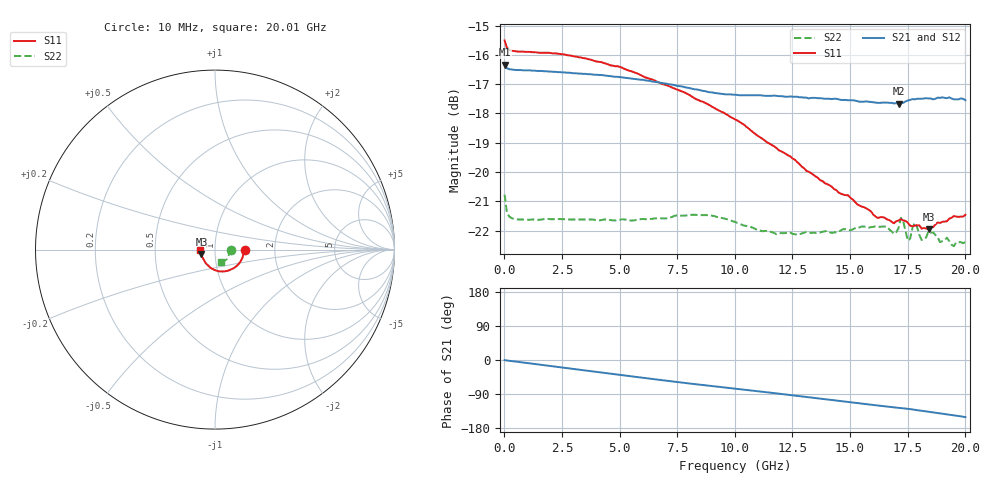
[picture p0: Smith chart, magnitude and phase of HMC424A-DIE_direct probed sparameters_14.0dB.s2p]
!s2p File: Measurements: S11, S21, S12, S22
# GHz S dB R 50.0
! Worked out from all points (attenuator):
!   201 points, 10 MHz to 20.01 GHz, reference 50 ohm
!   highest |S21| = -16.34 dB at 10 MHz (marker M1); lowest = -17.7 dB at 17.11 GHz (marker M2)
!   lowest |S11| = -21.9 dB at 18.41 GHz (marker M3), VSWR 1.17, Z = 42.9 - j2.2 ohm
!   |S11| at or under -10 dB: start of sweep to end of sweep
!   |S22| runs from -22.5 to -20.8 dB; largest |S21 - S12| = 0.0012
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0.01  -15.51 -0.7  -16.34 -0.3  -16.32 -0.4  -20.77 -1.7
0.11  -15.76 -1.8  -16.46 -1.4  -16.45 -1.4  -21.38 -2.7
0.41  -15.87 -3.5  -16.51 -3.5  -16.51 -3.5  -21.60 -2.9
3.41  -16.11 -25.8  -16.65 -26.8  -16.64 -26.8  -21.62 -16.1
6.71  -16.95 -51.7  -16.94 -52.2  -16.94 -52.2  -21.57 -30.6
8.91  -17.72 -69.9  -17.28 -68.1  -17.28 -68.1  -21.47 -41.5
10.01  -18.20 -79.6  -17.36 -75.5  -17.37 -75.4  -21.70 -46.8
11.81  -19.18 -95.9  -17.40 -88.1  -17.41 -88.0  -22.12 -51.7
13.41  -20.09 -110.5  -17.47 -99.7  -17.48 -99.7  -22.07 -55.1
16.21  -21.57 -138.5  -17.64 -120.0  -17.60 -119.9  -21.86 -62.7
16.71  -21.64 -143.9  -17.64 -123.5  -17.61 -123.5  -21.96 -64.8
16.91  -21.75 -145.7  -17.66 -124.9  -17.60 -124.9  -22.11 -64.3
17.11  -21.65 -147.2  -17.67 -126.3  -17.60 -126.3  -21.91 -62.9
17.21  -21.61 -148.6  -17.65 -126.9  -17.61 -127.1  -21.56 -64.3
17.51  -21.73 -152.2  -17.56 -129.0  -17.58 -129.4  -22.34 -66.6
17.81  -21.83 -154.2  -17.52 -131.3  -17.54 -131.5  -21.73 -65.6
18.11  -21.93 -158.0  -17.50 -134.0  -17.55 -133.8  -22.32 -66.8
18.41  -21.95 -161.4  -17.49 -136.4  -17.51 -136.4  -22.02 -65.7
18.91  -21.74 -166.9  -17.47 -140.8  -17.46 -140.5  -22.39 -67.2
19.21  -21.68 -170.4  -17.48 -143.3  -17.47 -143.2  -22.24 -66.5
19.51  -21.50 -174.2  -17.52 -146.3  -17.50 -146.0  -22.53 -65.9
20.01  -21.46 179.8  -17.55 -150.8  -17.53 -150.7  -22.38 -64.3
